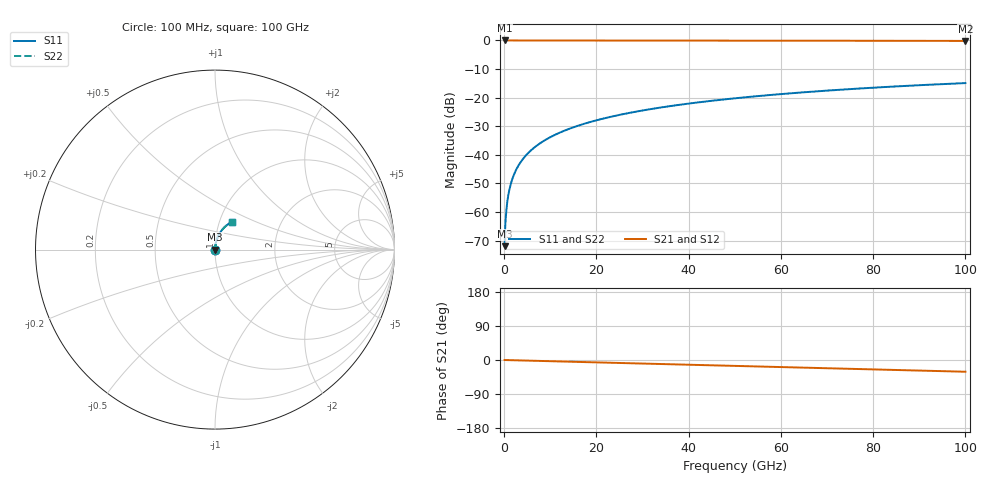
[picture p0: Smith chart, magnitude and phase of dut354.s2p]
! Touchstone file exported from HFSS 2026.1.0
!  File:  C:/ffzhzh/LocalFiles/Ansys_Project_Files/temp_train_TSV_354_1783510087_31944.aedt
!  Generated:  07:29:23 PM Jul  8, 2026
!  Design:  TSV
!  Project:  temp_train_TSV_354_1783510087_31944
! Variables:
!  h_bsmrdl = 2um
!  h_ox = 20um
!  h_rdl = 5um
!  h_sub = 50.19um
!  h_tmrdl = 5um
!  h_tsv = 50.19um
!  h_via = 3um
!  l_bsmrdl = 300um
!  l_sub = 418.04um
!  l_tmrdl = 200um
!  m_sub = 200um
!  pitch = 57.12um
!  r_tsv = 9.02um
!  s_tmrdl = 10um
!  w_bsmrdl = 18um
!  w_sub = 500um
!  w_tmrdl = 12um
!  x_tsv_center1 = 206um
!  x_tsv_center2 = 524um
!  x_tsv_center3 = 736um
!  x_tsv_center4 = 1054um
!  x_tsv_center5 = 1266um
!  x_tsv_center6 = 1584um
# GHz S MA R 50.000000
! Terminal data exported
! Port[1] = TSV1_1_T1
! Port[2] = TSV1_1_T2
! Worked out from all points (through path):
!   1000 points, 100 MHz to 100 GHz, reference 50 ohm
!   highest |S21| = 0.00 dB at 100 MHz (marker M1); lowest = -0.2 dB at 100 GHz (marker M2)
!   group delay of S21, straight-line fit = 860 fs
!   lowest |S11| = -72.0 dB at 100 MHz (marker M3), VSWR 1.00, Z = 50 + j0.0229 ohm
!   |S11| at or under -10 dB: start of sweep to end of sweep
!   |S22| runs from -72.0 to -14.9 dB; largest |S21 - S12| = 3.6e-15
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0.1  0.0002518 65.7  0.9999 -0.0  0.9999 -0.0  0.0002518 65.7
! Gamma 0 0 0 0
! Port Impedance 50 0 50 0
0.3  0.0006893 79.5  0.9999 -0.1  0.9999 -0.1  0.0006893 79.5
0.7  0.001542 83.3  0.9998 -0.2  0.9998 -0.2  0.001542 83.3
0.8  0.001752 83.7  0.9998 -0.3  0.9998 -0.3  0.001752 83.7
1  0.002169 84.3  0.9998 -0.3  0.9998 -0.3  0.002169 84.3
1.3  0.002792 84.9  0.9998 -0.4  0.9998 -0.4  0.002792 84.9
1.7  0.003618 85.3  0.9997 -0.5  0.9997 -0.5  0.003618 85.3
2.3  0.004848 85.7  0.9997 -0.7  0.9997 -0.7  0.004848 85.7
3  0.006271 85.8  0.9996 -1.0  0.9996 -1.0  0.006271 85.8
3.8  0.007888 85.9  0.9996 -1.2  0.9996 -1.2  0.007888 85.9
4.8  0.009901 85.9  0.9995 -1.5  0.9995 -1.5  0.009901 85.9
6  0.01231 85.8  0.9994 -1.9  0.9994 -1.9  0.01231 85.8
8.8  0.01791 85.3  0.9992 -2.8  0.9992 -2.8  0.01791 85.3
12.4  0.02508 84.4  0.999 -3.9  0.999 -3.9  0.02508 84.4
16.8  0.03378 83.3  0.9986 -5.3  0.9986 -5.3  0.03378 83.3
24.2  0.0483 81.2  0.9978 -7.6  0.9978 -7.6  0.0483 81.2
33.4  0.0661 78.5  0.9966 -10.5  0.9966 -10.5  0.0661 78.5
41.2  0.0809 76.2  0.9954 -12.9  0.9954 -12.9  0.0809 76.2
50.1  0.09743 73.5  0.9938 -15.6  0.9938 -15.6  0.09743 73.5
66.7  0.127 68.5  0.9902 -20.8  0.9902 -20.8  0.127 68.5
83.4  0.1546 63.5  0.9861 -25.9  0.9861 -25.9  0.1546 63.5
100  0.1795 58.5  0.9816 -31.0  0.9816 -31.0  0.1795 58.5
